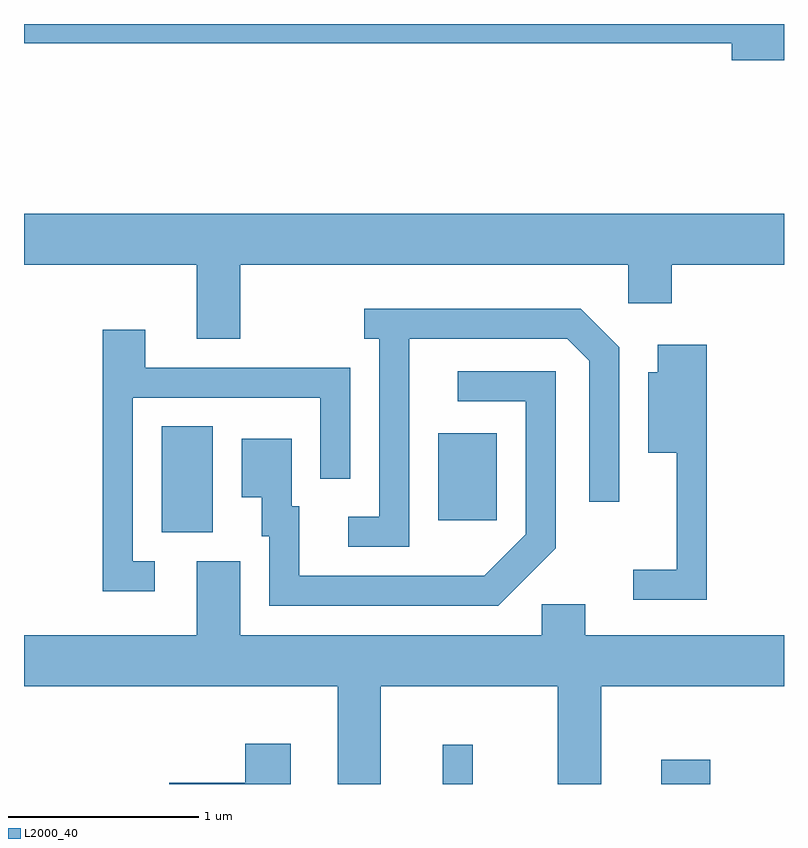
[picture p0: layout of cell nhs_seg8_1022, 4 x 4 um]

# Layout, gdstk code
import gdstk
lib = gdstk.Library(unit=1e-6, precision=1e-09)
def R(c, l, rs):  # rectangles x0, y0, x1, y1
    for r in rs: c.add(gdstk.rectangle(r[:2], r[2:], *l))
def P(c, l, *ps):  # polygons
    for p in ps: c.add(gdstk.Polygon(p, *l))
L2000_40 = (2000, 40)

nhs_seg8_1022 = lib.new_cell('nhs_seg8_1022')
R(nhs_seg8_1022, L2000_40, [(217.816,1840.342,217.974,1840.548), (218.966,1840.342,219.224,1840.469), (216.336,1841.666,216.604,1842.224), (217.791,1841.731,218.099,1842.189)])
P(nhs_seg8_1022, L2000_40, [(219.611,1844.342),(215.611,1844.342),(215.611,1844.241),(219.336,1844.241),(219.336,1844.151),(219.611,1844.151)],
  [(216.749,1843.076),(218.791,1843.076),(218.791,1842.871),(219.019,1842.871),(219.019,1843.076),(219.611,1843.076),(219.611,1843.344),(215.611,1843.344),(215.611,1843.076),(216.521,1843.076),(216.521,1842.686),(216.749,1842.686)],
  [(217.639,1842.686),(218.469,1842.686),(218.586,1842.569),(218.586,1841.828),(218.744,1841.828),(218.744,1842.642),(218.542,1842.844),(217.403,1842.844),(217.403,1842.686),(217.481,1842.686),(217.481,1841.749),(217.318,1841.749),(217.318,1841.591),(217.639,1841.591)],
  [(216.298,1841.514),(216.184,1841.514),(216.184,1842.376),(217.171,1842.376),(217.171,1841.948),(217.329,1841.948),(217.329,1842.534),(216.249,1842.534),(216.249,1842.734),(216.026,1842.734),(216.026,1841.356),(216.298,1841.356)],
  [(219.204,1842.654),(218.946,1842.654),(218.946,1842.509),(218.896,1842.509),(218.896,1842.086),(219.046,1842.086),(219.046,1841.469),(218.818,1841.469),(218.818,1841.311),(219.204,1841.311)],
  [(218.409,1841.584),(218.409,1842.514),(217.893,1842.514),(217.893,1842.356),(218.251,1842.356),(218.251,1841.657),(218.034,1841.439),(217.059,1841.439),(217.059,1841.804),(217.019,1841.804),(217.019,1842.159),(216.756,1842.159),(216.756,1841.851),(216.861,1841.851),(216.861,1841.646),(216.901,1841.646),(216.901,1841.281),(218.107,1841.281)],
  [(217.489,1840.856),(218.421,1840.856),(218.421,1840.342),(218.649,1840.342),(218.649,1840.856),(219.611,1840.856),(219.611,1841.124),(218.564,1841.124),(218.564,1841.289),(218.336,1841.289),(218.336,1841.124),(216.749,1841.124),(216.749,1841.514),(216.521,1841.514),(216.521,1841.124),(215.611,1841.124),(215.611,1840.856),(217.261,1840.856),(217.261,1840.342),(217.489,1840.342)],
  [(217.014,1840.554),(216.776,1840.554),(216.776,1840.349),(216.376,1840.349),(216.376,1840.342),(217.014,1840.342)])

lib.write_gds('nhs_seg8_1022.gds')
